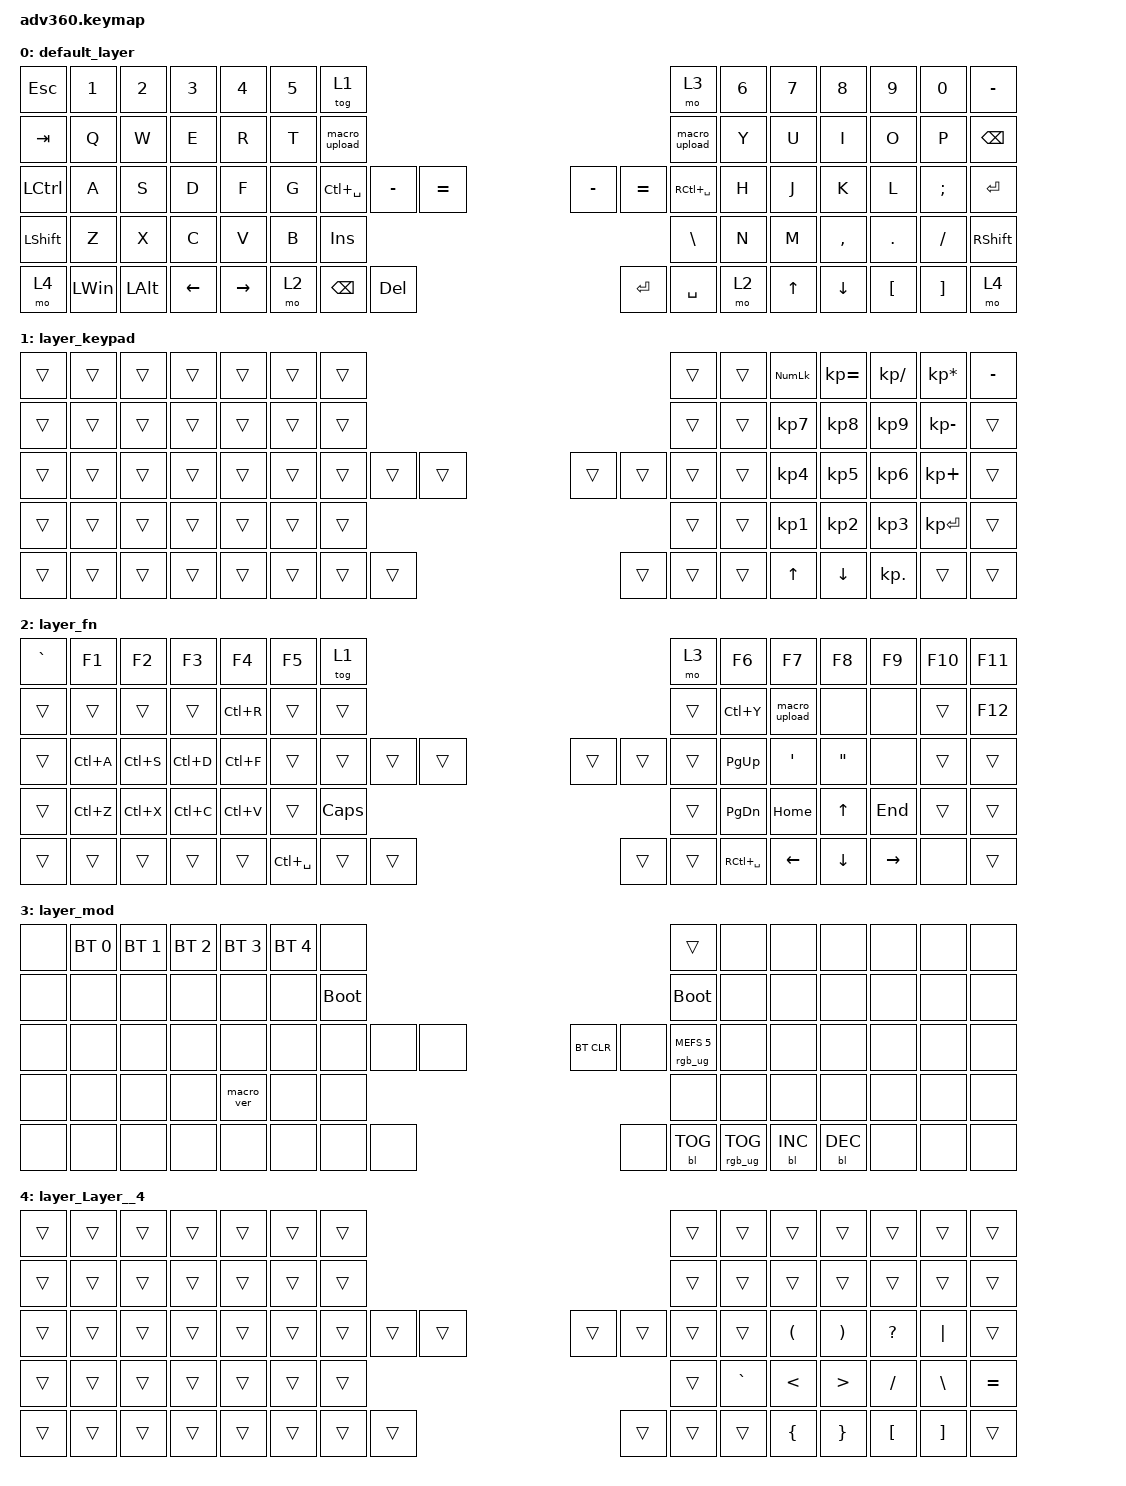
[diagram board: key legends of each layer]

/*
 * Copyright (c) 2020 The ZMK Contributors
 *
 * SPDX-License-Identifier: MIT
 */


/* THIS FILE WAS GENERATED!
 *
 * This file was generated automatically. You may or may not want to
 * edit it directly.
 */

#include <behaviors.dtsi>
#include <dt-bindings/zmk/keys.h>
#include <dt-bindings/zmk/bt.h>
#include <dt-bindings/zmk/rgb.h>
#include <dt-bindings/zmk/backlight.h>

/ {
  behaviors {
    #include "macros.dtsi"
    #include "version.dtsi"

    hm: homerow_mods {
        compatible = "zmk,behavior-hold-tap";
        label = "HOMEROW_MODS";
        #binding-cells = <2>;
        tapping-term-ms = <200>;
        quick_tap_ms = <175>;
        flavor = "tap-preferred";
        bindings = <&kp>, <&kp>;
    };
  };

    keymap {
        compatible = "zmk,keymap";


        default_layer {
            bindings = <
   &kp ESC    &kp N1    &kp N2    &kp N3     &kp N4  &kp N5                   &tog 1                                                                      &mo 3  &kp N6  &kp N7     &kp N8    &kp N9    &kp N0      &kp MINUS
   &kp TAB     &kp Q     &kp W     &kp E      &kp R   &kp T            &macro_upload                                                              &macro_upload   &kp Y   &kp U      &kp I     &kp O     &kp P  &kp BACKSPACE
 &kp LCTRL     &kp A     &kp S     &kp D      &kp F   &kp G            &kp LC(SPACE)  &kp MINUS  &kp EQUAL                  &kp MINUS  &kp EQUAL  &kp RC(SPACE)   &kp H   &kp J      &kp K     &kp L  &kp SEMI      &kp ENTER
 &kp LSHFT     &kp Z     &kp X     &kp C      &kp V   &kp B                                        &kp INS                   &kp BSLH                             &kp N   &kp M  &kp COMMA   &kp DOT  &kp FSLH      &kp RSHFT
     &mo 4  &kp LWIN  &kp LALT  &kp LEFT  &kp RIGHT                            &mo 2   &kp BSPC    &kp DEL                  &kp ENTER  &kp SPACE          &mo 2          &kp UP   &kp DOWN  &kp LBKT  &kp RBKT          &mo 4
            >;
        };

        layer_keypad {
            bindings = <
 &trans  &trans  &trans  &trans  &trans  &trans            &trans                                                  &trans  &trans  &kp KP_NUM  &kp KP_EQUAL  &kp KP_DIVIDE  &kp KP_MULTIPLY  &kp MINUS
 &trans  &trans  &trans  &trans  &trans  &trans            &trans                                                  &trans  &trans   &kp KP_N7     &kp KP_N8      &kp KP_N9     &kp KP_MINUS     &trans
 &trans  &trans  &trans  &trans  &trans  &trans            &trans  &trans  &trans                  &trans  &trans  &trans  &trans   &kp KP_N4     &kp KP_N5      &kp KP_N6      &kp KP_PLUS     &trans
 &trans  &trans  &trans  &trans  &trans  &trans                            &trans                  &trans                  &trans   &kp KP_N1     &kp KP_N2      &kp KP_N3     &kp KP_ENTER     &trans
 &trans  &trans  &trans  &trans  &trans                    &trans  &trans  &trans                  &trans  &trans  &trans              &kp UP      &kp DOWN     &kp KP_DOT           &trans     &trans
            >;
        };

        layer_fn {
            bindings = <
 &kp GRAVE     &kp F1     &kp F2     &kp F3     &kp F4  &kp F5                   &tog 1                                                            &mo 3     &kp F6            &kp F7             &kp F8     &kp F9  &kp F10  &kp F11
    &trans     &trans     &trans     &trans  &kp LC(R)  &trans                   &trans                                                           &trans  &kp LC(Y)     &macro_upload              &none      &none   &trans  &kp F12
    &trans  &kp LC(A)  &kp LC(S)  &kp LC(D)  &kp LC(F)  &trans                   &trans  &trans    &trans                  &trans  &trans         &trans  &kp PG_UP  &kp SINGLE_QUOTE  &kp DOUBLE_QUOTES      &none   &trans   &trans
    &trans  &kp LC(Z)  &kp LC(X)  &kp LC(C)  &kp LC(V)  &trans                                   &kp CAPS                  &trans                         &kp PG_DN          &kp HOME             &kp UP    &kp END   &trans   &trans
    &trans     &trans     &trans     &trans     &trans                    &kp LC(SPACE)  &trans    &trans                  &trans  &trans  &kp RC(SPACE)                     &kp LEFT           &kp DOWN  &kp RIGHT    &none   &trans
            >;
        };

        layer_mod {
            bindings = <
  &none  &bt BT_SEL 0  &bt BT_SEL 1  &bt BT_SEL 2  &bt BT_SEL 3  &bt BT_SEL 4                  &none                                                                          &trans   &none       &none       &none   &none   &none   &none
  &none         &none         &none         &none         &none         &none            &bootloader                                                                     &bootloader   &none       &none       &none   &none   &none   &none
  &none         &none         &none         &none         &none         &none                  &none   &none   &none                  &bt BT_CLR       &none  &rgb_ug RGB_MEFS_CMD 5   &none       &none       &none   &none   &none   &none
  &none         &none         &none         &none    &macro_ver         &none                                  &none                       &none                                       &none       &none       &none   &none   &none   &none
  &none         &none         &none         &none         &none                                &none   &none   &none                       &none  &bl BL_TOG         &rgb_ug RGB_TOG          &bl BL_INC  &bl BL_DEC   &none   &none   &none
            >;
        };

        layer_Layer__4 {
            bindings = <
 &trans  &trans  &trans  &trans  &trans  &trans            &trans                                                  &trans     &trans                &trans                 &trans            &trans             &trans     &trans
 &trans  &trans  &trans  &trans  &trans  &trans            &trans                                                  &trans     &trans                &trans                 &trans            &trans             &trans     &trans
 &trans  &trans  &trans  &trans  &trans  &trans            &trans  &trans  &trans                  &trans  &trans  &trans     &trans  &kp LEFT_PARENTHESIS  &kp RIGHT_PARENTHESIS      &kp QUESTION           &kp PIPE     &trans
 &trans  &trans  &trans  &trans  &trans  &trans                            &trans                  &trans                  &kp GRAVE         &kp LESS_THAN       &kp GREATER_THAN         &kp SLASH      &kp BACKSLASH  &kp EQUAL
 &trans  &trans  &trans  &trans  &trans                    &trans  &trans  &trans                  &trans  &trans  &trans                   &kp LEFT_BRACE        &kp RIGHT_BRACE  &kp LEFT_BRACKET  &kp RIGHT_BRACKET     &trans
            >;
        };

    };
};
